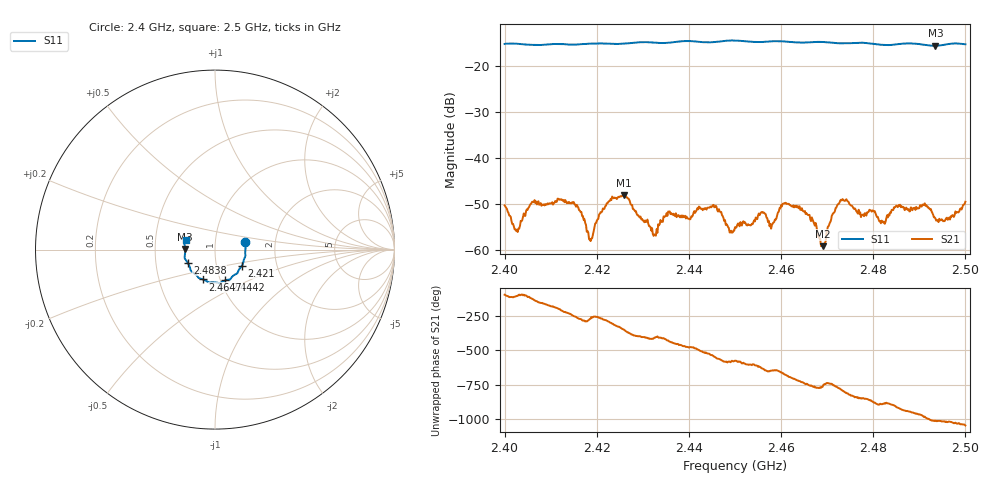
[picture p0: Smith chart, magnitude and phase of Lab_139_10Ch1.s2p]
# Hz S RI R 50
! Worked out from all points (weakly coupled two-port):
!   601 points, 2.4 GHz to 2.5 GHz, reference 50 ohm
!   highest |S21| = -48.15 dB at 2.4258 GHz (marker M1); lowest = -59.2 dB at 2.469 GHz (marker M2)
!   lowest |S11| = -15.6 dB at 2.4935 GHz (marker M3), VSWR 1.40, Z = 35.8 + j0.191 ohm
!   |S11| at or under -10 dB: start of sweep to end of sweep
!   S12 and S22 are empty: the file has one direction only
!   S11 on the Smith chart (normalised r, x): 2.4 GHz: 1.40, +0.12; 2.421 GHz: 1.33, -0.24; 2.4442 GHz: 1.05, -0.37; 2.4647 GHz: 0.83, -0.29; 2.4838 GHz: 0.73, -0.11; 2.5 GHz: 0.72, +0.08
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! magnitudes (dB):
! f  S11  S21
! 2.4 GHz  -15.2  -50.3
! 2.4027 GHz  -15.2  -55.6
! 2.4063 GHz  -15.4  -49.6
! 2.4167 GHz  -15.3  -51.7
! 2.4187 GHz  -15.2  -58.1
! 2.421 GHz  -15.1  -51.8
! 2.4258 GHz  -15.2  -48.2
! 2.4333 GHz  -15.0  -54.4
! 2.4442 GHz  -14.9  -50.8
! 2.45 GHz  -14.5  -55.0
! 2.456 GHz  -14.8  -51.9
! 2.458 GHz  -14.7  -54.6
! 2.4608 GHz  -14.7  -49.9
! 2.4647 GHz  -14.9  -51.4
! 2.4667 GHz  -14.8  -52.9
! 2.469 GHz  -14.8  -59.2
! 2.4732 GHz  -15.1  -49.2
! 2.4833 GHz  -15.5  -52.3
! 2.4838 GHz  -15.4  -51.9
! 2.4912 GHz  -15.4  -49.9
! 2.4935 GHz  -15.6  -53.1
! 2.5 GHz  -15.3  -49.5
